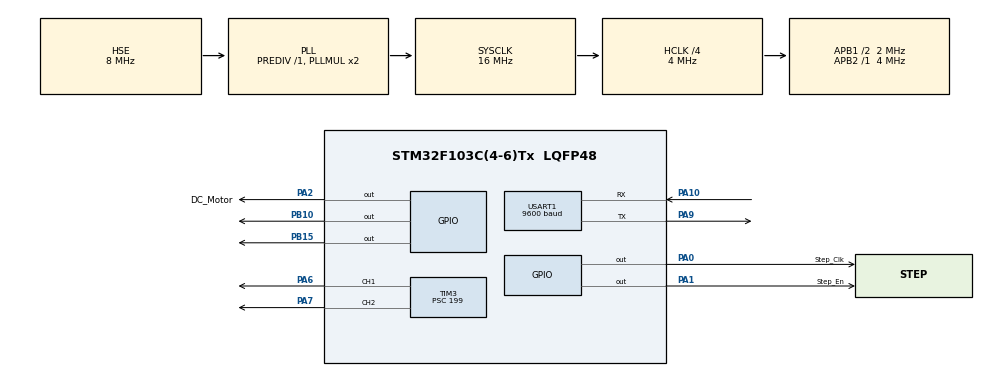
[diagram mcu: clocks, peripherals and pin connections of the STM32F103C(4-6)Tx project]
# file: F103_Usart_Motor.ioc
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Mcu.Family=STM32F1
RCC.PLLSourceVirtual=RCC_PLLSOURCE_HSE
PD1-OSC_OUT.Mode=HSE-External-Oscillator
PA10.Mode=Asynchronous
TIM3.AutoReloadPreload=TIM_AUTORELOAD_PRELOAD_DISABLE
USART1.BaudRate=9600
PD0-OSC_IN.Signal=RCC_OSC_IN
RCC.APB1CLKDivider=RCC_HCLK_DIV2
VP_SYS_VS_ND.Mode=No_Debug
PB15.Signal=GPIO_Output
RCC.SYSCLKSource=RCC_SYSCLKSOURCE_PLLCLK
ProjectManager.StackSize=0x400
PA0-WKUP.GPIO_Label=Step_Clk
PA0-WKUP.Signal=GPIO_Output
PD1-OSC_OUT.Signal=RCC_OSC_OUT
PA9.Mode=Asynchronous
ProjectManager.TargetToolchain=STM32CubeIDE
RCC.HCLKFreq_Value=4000000
RCC.APB2TimFreq_Value=4000000
TIM3.Period=99
PA9.Signal=USART1_TX
RCC.USBFreq_Value=16000000
PA1.Signal=GPIO_Output
RCC.AHBFreq_Value=4000000
TIM3.Channel-PWM\ Generation1\ CH1=TIM_CHANNEL_1
PD0-OSC_IN.Mode=HSE-External-Oscillator
PB10.Signal=GPIO_Output
TIM3.ClockDivision=TIM_CLOCKDIVISION_DIV1
SH.S_TIM3_CH2.0=TIM3_CH2,PWM Generation2 CH2
board=custom
RCC.APB2Freq_Value=4000000
TIM3.Prescaler=199
PA1.GPIO_Label=Step_En
RCC.AHBCLKDivider=RCC_SYSCLK_DIV4
SH.S_TIM3_CH1.0=TIM3_CH1,PWM Generation1 CH1
Mcu.Name=STM32F103C(4-6)Tx
PA2.Signal=GPIO_Output
TIM3.OCPolarity_1=TIM_OCPOLARITY_LOW
TIM3.OCPolarity_2=TIM_OCPOLARITY_LOW
RCC.SYSCLKFreq_VALUE=16000000
Mcu.Package=LQFP48
PA6.Signal=S_TIM3_CH1
USART1.VirtualMode=VM_ASYNC
PA2.GPIO_Label=DC_Motor
PA10.Signal=USART1_RX
ProjectManager.HeapSize=0x200
NVIC.PriorityGroup=NVIC_PRIORITYGROUP_4
TIM3.Channel-PWM\ Generation2\ CH2=TIM_CHANNEL_2
RCC.APB1TimFreq_Value=4000000
TIM3.TIM_MasterOutputTrigger=TIM_TRGO_RESET
NVIC.USART1_IRQn=true\:0\:0\:false\:true\:true\:1\:true\:true
RCC.APB1Freq_Value=2000000
PA7.Signal=S_TIM3_CH2

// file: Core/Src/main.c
/* USER CODE BEGIN Header */
/**
 ********************************************************************************
 * @file           : main.c
 * @brief          : Main program body
 ******************************************************************************
 * @attention
 *
 * <h2><center>&copy; Copyright (c) 2021 STMicroelectronics.
 * All rights reserved.</center></h2>
 *
 * This software component is licensed by ST under BSD 3-Clause license,
 * the "License"; You may not use this file except in compliance with the
 * License. You may obtain a copy of the License at:
 *                        opensource.org/licenses/BSD-3-Clause
 *
 ******************************************************************************
 */
/* USER CODE END Header */
#include "main.h"

/* USER CODE BEGIN Includes */
#include "string.h" // usarttan mesaj gönderirken strlen() fonksiyonunu kullanabilmek için bu kütüphaneyi ekliyoruz
/* USER CODE END Includes */

/* USER CODE BEGIN PM */
void Usart_Menu_Yazdir(void); // usart menü fonksiyonunu burada derleyiciye bildiriyoruz
/* USER CODE END PM */

TIM_HandleTypeDef htim3;

UART_HandleTypeDef huart1;

/* USER CODE BEGIN PV */
char mesaj1[] = "Motor Kontrol Menu\r\n0- Dc Ac\r\n1- Dc Kapat\r\n2- Dc Hiz+\r\n3- Dc Hiz-\r\n"; // usart kontrol menüsü karakter dizileri. \r\n alt satıra inmek için kullanılıyor
char mesaj2[] = "4- Step Ac\r\n5- Step Kapat\r\n6- Step Hiz+\r\n7- Step Hiz-\r\n";				// mesajı 3'e bölzmemizin sebebi proteus'un senkronizasyon probleminden kaynaklı
char mesaj3[] = "8- Servo Aci+\r\n9- Servo Aci-\r\n";											// bütün mesajı tek seferde göndermeye kalkınca belli bir yerden sonra yazmıyor
char usartgelen;
uint8_t servo_pwm = 5; // servonun başlangıç pwm değeri
uint8_t dc_pwm = 10;	//dc motorun başlangıç pwm değeri
uint32_t step_hiz = 20;	// step motorun başlangıç bekleme değeri

/* USER CODE END PV */

void SystemClock_Config(void);
static void MX_GPIO_Init(void);
static void MX_USART1_UART_Init(void);
static void MX_TIM3_Init(void);
static void MX_NVIC_Init(void);

/* USER CODE BEGIN 0 */
void HAL_UART_RxCpltCallback(UART_HandleTypeDef *huart) {						// Usarttan veri geldiğinde çalışan kesme fonksiyonu
	/* Prevent unused argument(s) compilation warning */
	UNUSED(huart);
	/* NOTE: This function should not be modified, when the callback is needed,
	 the HAL_UART_RxCpltCallback could be implemented in the user file
	 */

	//switch case döngüsü ile gelen veriye göre işlem yaptırılıyor
	switch (usartgelen) {
	case '0':
		HAL_GPIO_WritePin(DC_Motor_GPIO_Port, DC_Motor_Pin, GPIO_PIN_SET); // eğer 0 geldi ise dc motoru çalıştır
		break;

	case '1':
		HAL_GPIO_WritePin(DC_Motor_GPIO_Port, DC_Motor_Pin, GPIO_PIN_RESET); // eğer 1 geldi ise dc motoru durdur
		break;

	case '2':																// eğer 2 geldi ise dc motorun hızını arttır
		dc_pwm +=10;	//dc motorun hızını 10 birim arttır
		if(dc_pwm >= 100) dc_pwm = 100; // eğer hız değişkeni 100'den büyük olursa 100'e sabitle
		__HAL_TIM_SET_COMPARE(&htim3,TIM_CHANNEL_1, dc_pwm); // yeni hız değerini pwm kanalına gönder
		break;

	case '3':																// eğer 3 geldi ise dc motorun hızını azalt
		dc_pwm -=10;	// dc motorun hızını 10 birim azalt
		if(dc_pwm <= 10) dc_pwm = 10;	// eğer hız değişkeni 10'dan küçükse 10'a sabitle
		__HAL_TIM_SET_COMPARE(&htim3,TIM_CHANNEL_1, dc_pwm); // yeni hız değerini pwm kanalına gönder
		break;

	case '4':
		HAL_GPIO_WritePin(Step_En_GPIO_Port, Step_En_Pin, GPIO_PIN_SET);	// eğer 4 geldi ise step motoru çalıştır
		break;

	case '5':
		HAL_GPIO_WritePin(Step_En_GPIO_Port, Step_En_Pin, GPIO_PIN_RESET);	// eğer 5 geldi ise step motoru durdur
		break;

	case '6':																// eğer 6 geldi ise step motorun hızını arttır
		step_hiz -=4; // step motorun hız değişkenini(bekleme değerini) 4 birim azalt, böylelikle kare dalganın frekansı ve step motorun hızı artacak
		if(step_hiz <= 5) step_hiz = 5;	// eğer hız değeri 5'den küçükse 5'e sabitle
		break;

	case '7':																// eğer 7 geldi ise step motorun hızını azalt
		step_hiz +=4;// step motorun hız değişkenini(bekleme değerini) 4 birim arttır, böylelikle kare dalganın frekansı ve step motorun hızı azalacak
		if(step_hiz >= 20) step_hiz = 20; // eğer hız değeri 20'den büyükse 20'ye sabitle
		break;

	case '8':																// eğer 8 geldi ise servo motorun açısını arttır
		servo_pwm +=1; // servo motorun açsını arttırmak için pwm değerini 1 arttırıyoruz
		if(servo_pwm >= 10) servo_pwm = 10;	// eğer pwm değeri 10'dan büyükse(maks açı değeri +90 derece) pwm değerini 10'a sabitle
		__HAL_TIM_SET_COMPARE(&htim3,TIM_CHANNEL_2,servo_pwm); // yeni açı değerini pwm kanalına gönder
		break;

	case '9':																// eğer 9 geldi ise servo motorun açısını arttır
		servo_pwm -=1; // servo motorun açsını azaltmak için pwm değerini 1 azaltyoruz
		if(servo_pwm <= 5) servo_pwm = 5; //  eğer pwm değeri 5'ten küçükse(min açı değeri -90 derece) pwm değerini 5'e sabitle
		__HAL_TIM_SET_COMPARE(&htim3,TIM_CHANNEL_2,servo_pwm); // yeni açı değerini pwm kanalına gönder
		break;
	}

}

void Usart_Menu_Yazdir(void){
	HAL_UART_Transmit(&huart1, (uint8_t*) mesaj1, strlen(mesaj1), 100); // 1. mesajı usarttan yazdır
	HAL_Delay(10);														// 10ms bekle
	HAL_UART_Transmit(&huart1, (uint8_t*) mesaj2, strlen(mesaj2), 100);	// 2. mesajı usarttan yazdır
	HAL_Delay(10);														// 10ms bekle
	HAL_UART_Transmit(&huart1, (uint8_t*) mesaj3, strlen(mesaj3), 100); // 3. mesajı usarttan yazdır
}

/* USER CODE END 0 */

int main(void)
{

  /* MCU Configuration--------------------------------------------------------*/

  /* Reset of all peripherals, Initializes the Flash interface and the Systick. */
  HAL_Init();

  /* Configure the system clock */
  SystemClock_Config();

  /* Initialize all configured peripherals */
  MX_GPIO_Init();
  MX_USART1_UART_Init();
  MX_TIM3_Init();

  /* Initialize interrupts */
  MX_NVIC_Init();
  /* USER CODE BEGIN 2 */
	__HAL_UART_ENABLE_IT(&huart1, UART_IT_RXNE); // Usart kesmesi aktif ediliyor
	Usart_Menu_Yazdir();	//Kontrol menüsü usart'tan yazdırılıyor

	HAL_TIM_PWM_Start(&htim3, TIM_CHANNEL_2);	// Servo ve DC motor için pwm kanalları başlatılıyor. 1. Kanal Dc, 2. Kanal Servo motor için.
	HAL_TIM_PWM_Start(&htim3, TIM_CHANNEL_1);
	__HAL_TIM_SET_COMPARE(&htim3,TIM_CHANNEL_2, servo_pwm); // Servo kanallarına başlangıç değerleri çıkış olarak veriliyor
	__HAL_TIM_SET_COMPARE(&htim3,TIM_CHANNEL_1, dc_pwm);

  /* USER CODE END 2 */

  /* Infinite loop */
	while (1) {

    /* USER CODE BEGIN 3 */

		HAL_UART_Receive_IT(&huart1, &usartgelen, 1); // Usarttan gelen veriyi interrupt yöntemi ile işlemciye alıyoruz ve sonra kesme fonksiyonuna gidiyor

		if(HAL_GPIO_ReadPin(Step_En_GPIO_Port, Step_En_Pin)){	// eğer step motor açılmışsa, yani enable pini 1 olmuşsa step motorun hareket edebilmesi için kare dalga üretiliyor
			HAL_GPIO_TogglePin(Step_Clk_GPIO_Port, Step_Clk_Pin);	// clock frekansı üretmek için clock pini ayarlanan süre kadar toggle yapılıyor
			HAL_Delay(step_hiz);									// kare dalga çıkışı elde etmek için belirlenen süre kadar bekleme yapılıyor
		}

	}
  /* USER CODE END 3 */
}

void SystemClock_Config(void)
{
  RCC_OscInitTypeDef RCC_OscInitStruct = {0};
  RCC_ClkInitTypeDef RCC_ClkInitStruct = {0};

  /** Initializes the RCC Oscillators according to the specified parameters
  * in the RCC_OscInitTypeDef structure.
  */
  RCC_OscInitStruct.OscillatorType = RCC_OSCILLATORTYPE_HSE;
  RCC_OscInitStruct.HSEState = RCC_HSE_ON;
  RCC_OscInitStruct.HSEPredivValue = RCC_HSE_PREDIV_DIV1;
  RCC_OscInitStruct.HSIState = RCC_HSI_ON;
  RCC_OscInitStruct.PLL.PLLState = RCC_PLL_ON;
  RCC_OscInitStruct.PLL.PLLSource = RCC_PLLSOURCE_HSE;
  RCC_OscInitStruct.PLL.PLLMUL = RCC_PLL_MUL2;
  if (HAL_RCC_OscConfig(&RCC_OscInitStruct) != HAL_OK)
  {
    Error_Handler();
  }
  /** Initializes the CPU, AHB and APB buses clocks
  */
  RCC_ClkInitStruct.ClockType = RCC_CLOCKTYPE_HCLK|RCC_CLOCKTYPE_SYSCLK
                              |RCC_CLOCKTYPE_PCLK1|RCC_CLOCKTYPE_PCLK2;
  RCC_ClkInitStruct.SYSCLKSource = RCC_SYSCLKSOURCE_PLLCLK;
  RCC_ClkInitStruct.AHBCLKDivider = RCC_SYSCLK_DIV4;
  RCC_ClkInitStruct.APB1CLKDivider = RCC_HCLK_DIV2;
  RCC_ClkInitStruct.APB2CLKDivider = RCC_HCLK_DIV1;

  if (HAL_RCC_ClockConfig(&RCC_ClkInitStruct, FLASH_LATENCY_0) != HAL_OK)
  {
    Error_Handler();
  }
}

/**
  * @brief NVIC Configuration.
  * @retval None
  */
static void MX_NVIC_Init(void)
{
  /* USART1_IRQn interrupt configuration */
  HAL_NVIC_SetPriority(USART1_IRQn, 0, 0);
  HAL_NVIC_EnableIRQ(USART1_IRQn);
}

static void MX_TIM3_Init(void)
{

  TIM_MasterConfigTypeDef sMasterConfig = {0};
  TIM_OC_InitTypeDef sConfigOC = {0};

  htim3.Instance = TIM3;
  htim3.Init.Prescaler = 199;
  htim3.Init.CounterMode = TIM_COUNTERMODE_UP;
  htim3.Init.Period = 99;
  htim3.Init.ClockDivision = TIM_CLOCKDIVISION_DIV1;
  htim3.Init.AutoReloadPreload = TIM_AUTORELOAD_PRELOAD_DISABLE;
  if (HAL_TIM_PWM_Init(&htim3) != HAL_OK)
  {
    Error_Handler();
  }
  sMasterConfig.MasterOutputTrigger = TIM_TRGO_RESET;
  sMasterConfig.MasterSlaveMode = TIM_MASTERSLAVEMODE_DISABLE;
  if (HAL_TIMEx_MasterConfigSynchronization(&htim3, &sMasterConfig) != HAL_OK)
  {
    Error_Handler();
  }
  sConfigOC.OCMode = TIM_OCMODE_PWM1;
  sConfigOC.Pulse = 0;
  sConfigOC.OCPolarity = TIM_OCPOLARITY_LOW;
  sConfigOC.OCFastMode = TIM_OCFAST_DISABLE;
  if (HAL_TIM_PWM_ConfigChannel(&htim3, &sConfigOC, TIM_CHANNEL_1) != HAL_OK)
  {
    Error_Handler();
  }
  if (HAL_TIM_PWM_ConfigChannel(&htim3, &sConfigOC, TIM_CHANNEL_2) != HAL_OK)
  {
    Error_Handler();
  }
  HAL_TIM_MspPostInit(&htim3);

}

static void MX_USART1_UART_Init(void)
{

  huart1.Instance = USART1;
  huart1.Init.BaudRate = 9600;
  huart1.Init.WordLength = UART_WORDLENGTH_8B;
  huart1.Init.StopBits = UART_STOPBITS_1;
  huart1.Init.Parity = UART_PARITY_NONE;
  huart1.Init.Mode = UART_MODE_TX_RX;
  huart1.Init.HwFlowCtl = UART_HWCONTROL_NONE;
  huart1.Init.OverSampling = UART_OVERSAMPLING_16;
  if (HAL_UART_Init(&huart1) != HAL_OK)
  {
    Error_Handler();
  }

}

static void MX_GPIO_Init(void)
{
  GPIO_InitTypeDef GPIO_InitStruct = {0};

  /* GPIO Ports Clock Enable */
  __HAL_RCC_GPIOD_CLK_ENABLE();
  __HAL_RCC_GPIOA_CLK_ENABLE();
  __HAL_RCC_GPIOB_CLK_ENABLE();

  /*Configure GPIO pin Output Level */
  HAL_GPIO_WritePin(GPIOA, Step_Clk_Pin|Step_En_Pin|DC_Motor_Pin, GPIO_PIN_RESET);

  /*Configure GPIO pin Output Level */
  HAL_GPIO_WritePin(GPIOB, GPIO_PIN_10|GPIO_PIN_15, GPIO_PIN_RESET);

  /*Configure GPIO pins : Step_Clk_Pin Step_En_Pin DC_Motor_Pin */
  GPIO_InitStruct.Pin = Step_Clk_Pin|Step_En_Pin|DC_Motor_Pin;
  GPIO_InitStruct.Mode = GPIO_MODE_OUTPUT_PP;
  GPIO_InitStruct.Pull = GPIO_NOPULL;
  GPIO_InitStruct.Speed = GPIO_SPEED_FREQ_LOW;
  HAL_GPIO_Init(GPIOA, &GPIO_InitStruct);

  /*Configure GPIO pins : PB10 PB15 */
  GPIO_InitStruct.Pin = GPIO_PIN_10|GPIO_PIN_15;
  GPIO_InitStruct.Mode = GPIO_MODE_OUTPUT_PP;
  GPIO_InitStruct.Pull = GPIO_NOPULL;
  GPIO_InitStruct.Speed = GPIO_SPEED_FREQ_LOW;
  HAL_GPIO_Init(GPIOB, &GPIO_InitStruct);

}

void Error_Handler(void)
{
	__disable_irq();
	while (1) {
	}
}

/************************ (C) COPYRIGHT STMicroelectronics *****END OF FILE****/
